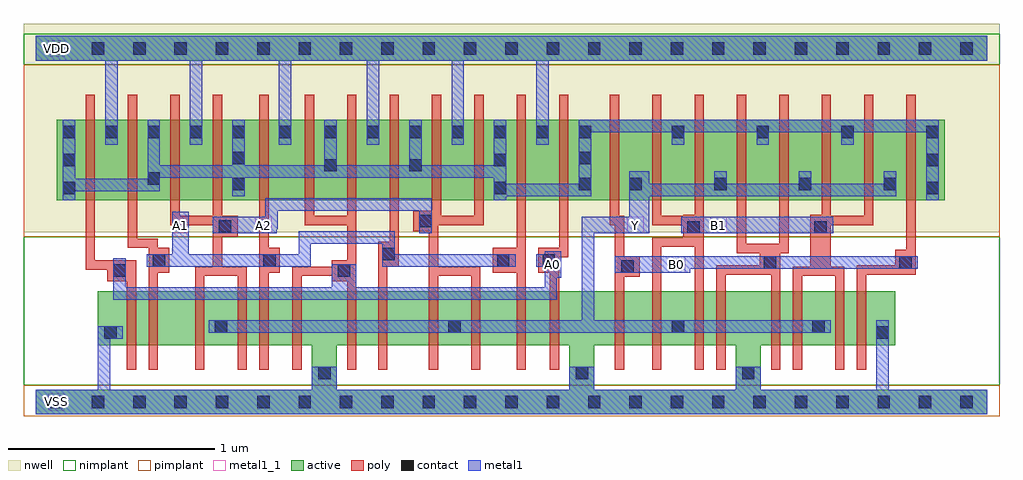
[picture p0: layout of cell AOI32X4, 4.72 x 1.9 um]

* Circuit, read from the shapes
.subckt AOI32X4 A0 A1 A2 B0 B1 VDD VSS Y
M1 n1 A0 VSS VSS nfet w=0.26u l=0.045u
M2 n2 A1 n1 VSS nfet w=0.26u l=0.045u
M3 Y A2 n2 VSS nfet w=0.26u l=0.045u
M4 n3 A2 Y VSS nfet w=0.26u l=0.045u
M5 n4 A1 n3 VSS nfet w=0.26u l=0.045u
M6 VSS A0 n4 VSS nfet w=0.26u l=0.045u
M7 n5 A0 VSS VSS nfet w=0.26u l=0.045u
M8 n6 A1 n5 VSS nfet w=0.26u l=0.045u
M9 Y A2 n6 VSS nfet w=0.26u l=0.045u
M10 n7 A2 Y VSS nfet w=0.26u l=0.045u
M11 n8 A1 n7 VSS nfet w=0.26u l=0.045u
M12 VSS A0 n8 VSS nfet w=0.26u l=0.045u
M13 n9 B0 VSS VSS nfet w=0.26u l=0.045u
M14 Y B1 n9 VSS nfet w=0.26u l=0.045u
M15 n10 B1 Y VSS nfet w=0.26u l=0.045u
M16 VSS B0 n10 VSS nfet w=0.26u l=0.045u
M17 n11 B0 VSS VSS nfet w=0.26u l=0.045u
M18 Y B1 n11 VSS nfet w=0.26u l=0.045u
M19 n12 B1 Y VSS nfet w=0.26u l=0.045u
M20 VSS B0 n12 VSS nfet w=0.26u l=0.045u
M21 VDD A0 n13 VDD pfet w=0.39u l=0.045u m=4
M22 n13 A1 VDD VDD pfet w=0.39u l=0.045u m=4
M23 VDD A2 n13 VDD pfet w=0.39u l=0.045u m=4
M24 Y B0 n13 VDD pfet w=0.39u l=0.045u m=4
M25 n13 B1 Y VDD pfet w=0.39u l=0.045u m=4
.ends

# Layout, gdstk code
import gdstk
lib = gdstk.Library(unit=1e-6, precision=5e-10)
def R(c, l, rs):  # rectangles x0, y0, x1, y1
    for r in rs: c.add(gdstk.rectangle(r[:2], r[2:], *l))
def A(c, l, x, y, w, h, nx, ny, dx, dy):  # array of equal rectangles
    R(c, l, [(x+i*dx, y+j*dy, x+i*dx+w, y+j*dy+h) for i in range(nx) for j in range(ny)])
def P(c, l, *ps):  # polygons
    for p in ps: c.add(gdstk.Polygon(p, *l))
active = (1, 0)
nwell = (2, 0)
poly = (3, 0)
nimplant = (4, 0)
pimplant = (5, 0)
contact = (6, 0)
metal1 = (7, 0)
metal1_1 = (7, 1)

aoi32x4 = lib.new_cell('AOI32X4')
R(aoi32x4, active, [(0.1,0.975,4.395,1.365), (0,1.65,4.6,1.77)])
P(aoi32x4, active, [(0.3,0.535),(4.155,0.535),(4.155,0.275),(3.505,0.275),(3.505,0.06),(4.6,0.06),(4.6,-0.06),(0,-0.06),(0,0.06),(1.335,0.06),(1.335,0.275),(1.455,0.275),(1.455,0.06),(2.58,0.06),(2.58,0.275),(2.7,0.275),(2.7,0.06),(3.385,0.06),(3.385,0.275),(0.3,0.275)])
R(aoi32x4, nwell, [(-0.06,0.82,4.66,1.83)])
P(aoi32x4, poly, [(0.24,1.485),(0.285,1.485),(0.285,0.685),(0.485,0.685),(0.485,0.155),(0.44,0.155),(0.44,0.585),(0.345,0.585),(0.345,0.64),(0.24,0.64)],
  [(0.445,1.485),(0.49,1.485),(0.49,0.79),(0.59,0.79),(0.59,0.745),(0.645,0.745),(0.645,0.625),(0.59,0.625),(0.59,0.155),(0.545,0.155),(0.545,0.745),(0.445,0.745)],
  [(0.65,1.485),(0.695,1.485),(0.695,0.9),(0.855,0.9),(0.855,1.485),(0.9,1.485),(0.9,0.9),(0.975,0.9),(0.975,0.8),(0.9,0.8),(0.9,0.655),(1.02,0.655),(1.02,0.155),(0.975,0.155),(0.975,0.61),(0.815,0.61),(0.815,0.155),(0.77,0.155),(0.77,0.655),(0.855,0.655),(0.855,0.855),(0.65,0.855)],
  [(1.08,1.485),(1.125,1.485),(1.125,0.745),(1.18,0.745),(1.18,0.625),(1.125,0.625),(1.125,0.155),(1.08,0.155)],
  [(1.3,1.485),(1.345,1.485),(1.345,0.9),(1.505,0.9),(1.505,1.485),(1.55,1.485),(1.55,0.155),(1.505,0.155),(1.505,0.585),(1.43,0.585),(1.43,0.61),(1.285,0.61),(1.285,0.155),(1.24,0.155),(1.24,0.655),(1.43,0.655),(1.43,0.685),(1.505,0.685),(1.505,0.855),(1.3,0.855)],
  [(1.71,1.485),(1.755,1.485),(1.755,0.655),(1.7,0.655),(1.7,0.155),(1.655,0.155),(1.655,0.775),(1.71,0.775)],
  [(1.915,1.485),(1.96,1.485),(1.96,0.9),(2.12,0.9),(2.12,1.485),(2.165,1.485),(2.165,0.855),(1.945,0.855),(1.945,0.655),(2.15,0.655),(2.15,0.155),(2.105,0.155),(2.105,0.61),(1.945,0.61),(1.945,0.155),(1.9,0.155),(1.9,0.825),(1.825,0.825),(1.825,0.925),(1.915,0.925)],
  [(2.325,1.485),(2.37,1.485),(2.37,0.155),(2.325,0.155),(2.325,0.625),(2.21,0.625),(2.21,0.745),(2.325,0.745)],
  [(2.53,1.485),(2.575,1.485),(2.575,0.7),(2.53,0.7),(2.53,0.155),(2.485,0.155),(2.485,0.625),(2.43,0.625),(2.43,0.745),(2.53,0.745)],
  [(2.775,1.485),(2.82,1.485),(2.82,0.9),(2.845,0.9),(2.845,0.705),(2.92,0.705),(2.92,0.605),(2.845,0.605),(2.845,0.155),(2.8,0.155),(2.8,0.855),(2.775,0.855)],
  [(2.98,1.485),(3.025,1.485),(3.025,0.9),(3.13,0.9),(3.13,0.905),(3.185,0.905),(3.185,1.485),(3.23,1.485),(3.23,0.155),(3.185,0.155),(3.185,0.75),(3.025,0.75),(3.025,0.155),(2.98,0.155),(2.98,0.795),(3.13,0.795),(3.13,0.855),(2.98,0.855)],
  [(3.39,1.485),(3.435,1.485),(3.435,0.765),(3.595,0.765),(3.595,1.485),(3.64,1.485),(3.64,0.72),(3.6,0.72),(3.6,0.155),(3.555,0.155),(3.555,0.615),(3.335,0.615),(3.335,0.155),(3.29,0.155),(3.29,0.66),(3.5,0.66),(3.5,0.72),(3.39,0.72)],
  [(3.8,1.485),(3.845,1.485),(3.845,0.9),(4.005,0.9),(4.005,1.485),(4.05,1.485),(4.05,0.855),(3.845,0.855),(3.845,0.655),(3.91,0.655),(3.91,0.155),(3.865,0.155),(3.865,0.61),(3.705,0.61),(3.705,0.155),(3.66,0.155),(3.66,0.655),(3.745,0.655),(3.745,0.905),(3.8,0.905)],
  [(4.21,1.485),(4.255,1.485),(4.255,0.615),(4.015,0.615),(4.015,0.155),(3.97,0.155),(3.97,0.66),(4.155,0.66),(4.155,0.735),(4.21,0.735)])
R(aoi32x4, nimplant, [(-0.06,0.08,4.66,0.8), (-0.06,1.63,4.66,1.78)])
R(aoi32x4, pimplant, [(-0.06,-0.07,4.66,0.08), (-0.06,0.8,4.66,1.63)])
A(aoi32x4, contact, 0.07, -0.03, 0.06, 0.06, 23, 2, 0.2, 1.71)
A(aoi32x4, contact, 2.87, 1.025, 0.06, 0.06, 4, 1, 0.41, 0)
A(aoi32x4, contact, 0.13, 1.275, 0.06, 0.06, 5, 1, 0.205, 0)
A(aoi32x4, contact, 1.395, 1.275, 0.06, 0.06, 7, 1, 0.205, 0)
A(aoi32x4, contact, 3.075, 1.275, 0.06, 0.06, 4, 1, 0.41, 0)
R(aoi32x4, contact, [(1.365,0.11,1.425,0.17), (2.61,0.11,2.67,0.17), (3.415,0.11,3.475,0.17), (0.33,0.305,0.39,0.365), (4.065,0.305,4.125,0.365), (0.865,0.335,0.925,0.395), (1.995,0.335,2.055,0.395), (3.075,0.335,3.135,0.395), (3.755,0.335,3.815,0.395), (0.375,0.605,0.435,0.665), (1.46,0.605,1.52,0.665), (2.83,0.625,2.89,0.685), (3.52,0.645,3.58,0.705), (4.175,0.645,4.235,0.705), (0.565,0.655,0.625,0.715), (1.1,0.655,1.16,0.715), (2.23,0.655,2.29,0.715), (2.45,0.655,2.51,0.715), (1.675,0.685,1.735,0.745), (3.15,0.815,3.21,0.875), (3.765,0.815,3.825,0.875), (0.885,0.82,0.945,0.88), (1.855,0.845,1.915,0.905), (0.13,1.005,0.19,1.065), (2.215,1.005,2.275,1.065), (4.305,1.005,4.365,1.065), (0.95,1.025,1.01,1.085), (2.625,1.025,2.685,1.085), (0.54,1.05,0.6,1.11), (1.395,1.115,1.455,1.175), (1.805,1.115,1.865,1.175), (0.13,1.14,0.19,1.2), (2.215,1.14,2.275,1.2), (4.305,1.14,4.365,1.2), (0.95,1.15,1.01,1.21), (2.625,1.15,2.685,1.21), (1.175,1.275,1.235,1.335)])
R(aoi32x4, metal1, [(3.12,0.815,3.855,0.895)])
P(aoi32x4, metal1, [(0,1.77),(4.6,1.77),(4.6,1.65),(2.48,1.65),(2.48,1.245),(2.42,1.245),(2.42,1.65),(2.07,1.65),(2.07,1.245),(2.01,1.245),(2.01,1.65),(1.66,1.65),(1.66,1.245),(1.6,1.245),(1.6,1.65),(1.235,1.65),(1.235,1.245),(1.175,1.245),(1.175,1.65),(0.805,1.65),(0.805,1.245),(0.745,1.245),(0.745,1.65),(0.395,1.65),(0.395,1.245),(0.335,1.245),(0.335,1.65),(0,1.65)],
  [(0.13,1.365),(0.19,1.365),(0.19,1.08),(0.54,1.08),(0.54,1.365),(0.6,1.365),(0.6,1.145),(0.95,1.145),(0.95,1.365),(1.01,1.365),(1.01,1.145),(1.395,1.145),(1.395,1.365),(1.455,1.365),(1.455,1.145),(1.805,1.145),(1.805,1.365),(1.865,1.365),(1.865,1.145),(2.215,1.145),(2.215,1.365),(2.275,1.365),(2.275,1.055),(2.625,1.055),(2.625,1.365),(4.365,1.365),(4.365,0.975),(4.305,0.975),(4.305,1.305),(3.955,1.305),(3.955,1.245),(3.895,1.245),(3.895,1.305),(3.545,1.305),(3.545,1.245),(3.485,1.245),(3.485,1.305),(3.135,1.305),(3.135,1.245),(3.075,1.245),(3.075,1.305),(2.685,1.305),(2.685,0.995),(2.275,0.995),(2.275,0.975),(2.215,0.975),(2.215,1.085),(1.01,1.085),(1.01,0.995),(0.95,0.995),(0.95,1.085),(0.6,1.085),(0.6,1.02),(0.19,1.02),(0.19,0.975),(0.13,0.975)],
  [(1.11,0.985),(1.915,0.985),(1.915,0.815),(1.855,0.815),(1.855,0.925),(1.17,0.925),(1.17,0.835),(1.165,0.835),(1.165,0.815),(0.855,0.815),(0.855,0.895),(1.11,0.895)],
  [(2.87,1.115),(2.965,1.115),(2.965,1.055),(3.28,1.055),(3.28,1.115),(3.34,1.115),(3.34,1.055),(3.69,1.055),(3.69,1.115),(3.75,1.115),(3.75,1.055),(4.1,1.055),(4.1,1.115),(4.16,1.115),(4.16,0.995),(2.965,0.995),(2.965,0.815),(2.7,0.815),(2.7,0.395),(3.845,0.395),(3.845,0.335),(0.835,0.335),(0.835,0.395),(2.64,0.395),(2.64,0.895),(2.87,0.895)],
  [(0.66,0.92),(0.74,0.92),(0.74,0.715),(1.27,0.715),(1.27,0.825),(1.735,0.825),(1.735,0.715),(2.32,0.715),(2.32,0.655),(1.675,0.655),(1.675,0.765),(1.33,0.765),(1.33,0.655),(0.535,0.655),(0.535,0.715),(0.66,0.715)],
  [(2.46,0.73),(2.54,0.73),(2.54,0.6),(2.52,0.6),(2.52,0.495),(0.375,0.495),(0.375,0.695),(0.435,0.695),(0.435,0.555),(1.43,0.555),(1.43,0.665),(1.55,0.665),(1.55,0.555),(2.46,0.555),(2.46,0.655),(2.42,0.655),(2.42,0.715),(2.46,0.715)],
  [(2.8,0.705),(4.265,0.705),(4.265,0.645),(3.165,0.645),(3.165,0.625),(2.8,0.625)],
  [(0.3,0.365),(0.42,0.365),(0.42,0.305),(0.36,0.305),(0.36,0.06),(1.335,0.06),(1.335,0.17),(1.455,0.17),(1.455,0.06),(2.58,0.06),(2.58,0.17),(2.7,0.17),(2.7,0.06),(3.385,0.06),(3.385,0.17),(3.505,0.17),(3.505,0.06),(4.065,0.06),(4.065,0.395),(4.125,0.395),(4.125,0.06),(4.6,0.06),(4.6,-0.06),(0,-0.06),(0,0.06),(0.3,0.06)])
R(aoi32x4, metal1_1, [(0.06,-0.04,0.14,0.04), (2.46,0.625,2.54,0.705), (3.06,0.625,3.14,0.705), (0.66,0.815,0.74,0.895), (1.06,0.815,1.14,0.895), (2.86,0.815,2.94,0.895), (3.26,0.815,3.34,0.895), (0.06,1.67,0.14,1.75)])
aoi32x4.add(gdstk.Label('Y', (2.9,0.855), layer=7, texttype=1))
aoi32x4.add(gdstk.Label('A2', (1.1,0.855), layer=7, texttype=1))
aoi32x4.add(gdstk.Label('B1', (3.3,0.855), layer=7, texttype=1))
aoi32x4.add(gdstk.Label('A1', (0.7,0.855), layer=7, texttype=1))
aoi32x4.add(gdstk.Label('A0', (2.5,0.665), layer=7, texttype=1))
aoi32x4.add(gdstk.Label('B0', (3.1,0.665), layer=7, texttype=1))
aoi32x4.add(gdstk.Label('VDD', (0.1,1.71), layer=7, texttype=1))
aoi32x4.add(gdstk.Label('VSS', (0.1,0), layer=7, texttype=1))
aoi32x4.add(gdstk.Label('AOI32X4', (0,0), layer=63, texttype=0))

lib.write_gds('AOI32X4.gds')
